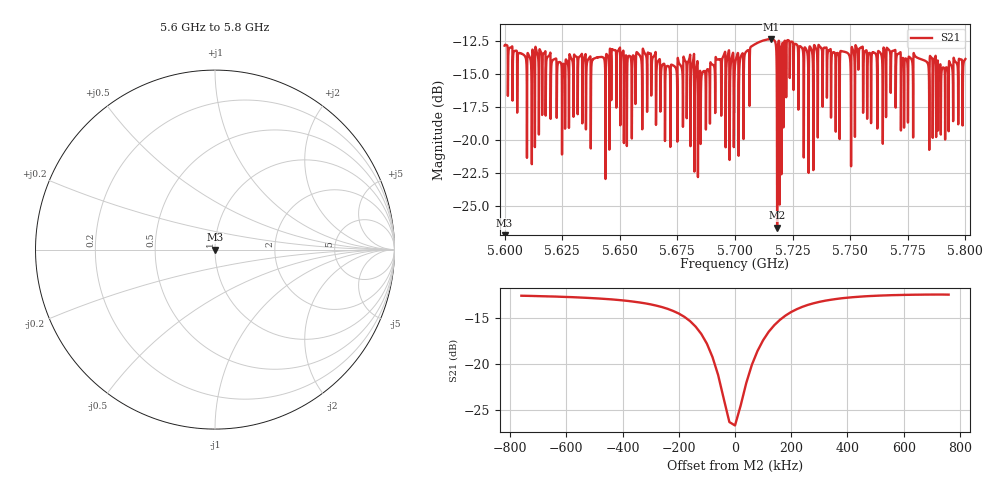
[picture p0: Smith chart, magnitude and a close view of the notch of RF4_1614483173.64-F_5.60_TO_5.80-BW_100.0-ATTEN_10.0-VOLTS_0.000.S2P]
!Keysight Technologies,E5063A,MY54502693,A.05.04
!Date: Sat Feb 27 20:33:12 2021
!Data & Calibration Information:
!Freq	S11:NONE(--)	S21:NONE(--)	S12:NONE(--)	S22:NONE(--)
# Hz S RI R 50
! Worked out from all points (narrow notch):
!   10000 points, 5.6 GHz to 5.8 GHz, reference 50 ohm
!   highest |S21| = -12.36 dB at 5.7156 GHz (marker M1); lowest = -26.7 dB at 5.7183 GHz (marker M2)
!   notch at M2: 12.9 dB deep, 129 kHz wide at half that depth
!   lowest |S11| = - dB at 5.6 GHz (marker M3), VSWR 1.00, Z = 50 + j0 ohm
!   |S11| at or under -10 dB: start of sweep to end of sweep
!   S12 and S22 are empty: the file has one direction only
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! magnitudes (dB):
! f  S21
! 5.6 GHz  -12.9
! 5.6122 GHz  -13.3
! 5.6161 GHz  -13.5
! 5.6254 GHz  -14.2
! 5.6333 GHz  -13.5
! 5.6446 GHz  -13.6
! 5.6474 GHz  -13.2
! 5.6527 GHz  -13.6
! 5.6581 GHz  -13.5
! 5.6667 GHz  -14.0
! 5.6796 GHz  -14.1
! 5.6848 GHz  -14.8
! 5.6925 GHz  -13.9
! 5.7 GHz  -14.4
! 5.7156 GHz  -12.4
! 5.7183 GHz  -26.7
! 5.7192 GHz  -12.7
! 5.7235 GHz  -12.5
! 5.7334 GHz  -13.3
! 5.7667 GHz  -13.2
! 5.7882 GHz  -15.9
! 5.8 GHz  -13.9
